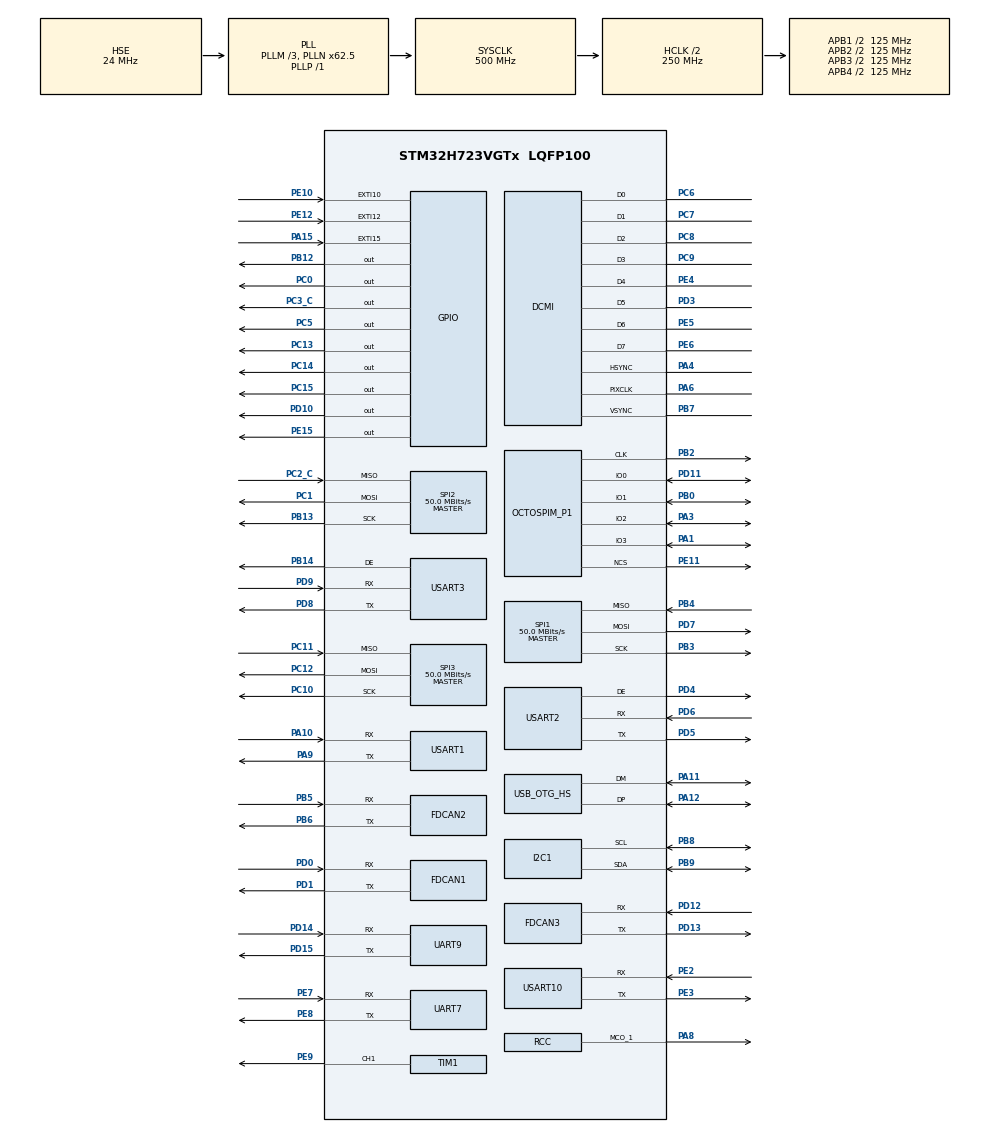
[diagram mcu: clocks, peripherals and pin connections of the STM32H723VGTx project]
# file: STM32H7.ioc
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DCMI.JPEGMode=DCMI_JPEG_DISABLE
Dma.Request0=USART1_RX
Dma.Request1=USART1_TX
Dma.USART1_RX.0.Direction=DMA_PERIPH_TO_MEMORY
Dma.USART1_RX.0.EventEnable=DISABLE
Dma.USART1_RX.0.FIFOMode=DMA_FIFOMODE_DISABLE
Dma.USART1_RX.0.Instance=DMA1_Stream0
Dma.USART1_RX.0.MemDataAlignment=DMA_MDATAALIGN_BYTE
Dma.USART1_RX.0.MemInc=DMA_MINC_ENABLE
Dma.USART1_RX.0.Mode=DMA_CIRCULAR
Dma.USART1_RX.0.PeriphDataAlignment=DMA_PDATAALIGN_BYTE
Dma.USART1_RX.0.PeriphInc=DMA_PINC_DISABLE
Dma.USART1_RX.0.Polarity=HAL_DMAMUX_REQ_GEN_RISING
Dma.USART1_RX.0.Priority=DMA_PRIORITY_LOW
Dma.USART1_RX.0.RequestNumber=1
Dma.USART1_RX.0.SignalID=NONE
Dma.USART1_RX.0.SyncEnable=DISABLE
Dma.USART1_RX.0.SyncPolarity=HAL_DMAMUX_SYNC_NO_EVENT
Dma.USART1_RX.0.SyncRequestNumber=1
Dma.USART1_RX.0.SyncSignalID=NONE
Dma.USART1_TX.1.Direction=DMA_MEMORY_TO_PERIPH
Dma.USART1_TX.1.EventEnable=DISABLE
Dma.USART1_TX.1.FIFOMode=DMA_FIFOMODE_DISABLE
Dma.USART1_TX.1.Instance=DMA1_Stream1
Dma.USART1_TX.1.MemDataAlignment=DMA_MDATAALIGN_BYTE
Dma.USART1_TX.1.MemInc=DMA_MINC_ENABLE
Dma.USART1_TX.1.Mode=DMA_NORMAL
Dma.USART1_TX.1.PeriphDataAlignment=DMA_PDATAALIGN_BYTE
Dma.USART1_TX.1.PeriphInc=DMA_PINC_DISABLE
Dma.USART1_TX.1.Polarity=HAL_DMAMUX_REQ_GEN_RISING
Dma.USART1_TX.1.Priority=DMA_PRIORITY_LOW
Dma.USART1_TX.1.RequestNumber=1
Dma.USART1_TX.1.SignalID=NONE
Dma.USART1_TX.1.SyncEnable=DISABLE
Dma.USART1_TX.1.SyncPolarity=HAL_DMAMUX_SYNC_NO_EVENT
Dma.USART1_TX.1.SyncRequestNumber=1
Dma.USART1_TX.1.SyncSignalID=NONE
FDCAN1.AutoRetransmission=DISABLE
FDCAN1.CalculateBaudRateNominal=1000000
FDCAN1.CalculateTimeBitNominal=1000
FDCAN1.CalculateTimeQuantumNominal=40.0
FDCAN1.DataPrescaler=4
FDCAN1.DataSyncJumpWidth=1
FDCAN1.DataTimeSeg1=19
FDCAN1.DataTimeSeg2=5
FDCAN1.ExtFiltersNbr=5
FDCAN1.FrameFormat=FDCAN_FRAME_CLASSIC
FDCAN1.NominalPrescaler=4
FDCAN1.NominalTimeSeg1=19
FDCAN1.NominalTimeSeg2=5
FDCAN1.ProtocolException=ENABLE
FDCAN1.RxFifo0ElmtSize=FDCAN_DATA_BYTES_24
FDCAN1.RxFifo0ElmtsNbr=4
FDCAN1.RxFifo1ElmtSize=FDCAN_DATA_BYTES_24
FDCAN1.RxFifo1ElmtsNbr=0
FDCAN1.StdFiltersNbr=5
FDCAN1.TransmitPause=DISABLE
FDCAN1.TxElmtSize=FDCAN_DATA_BYTES_24
FDCAN1.TxFifoQueueElmtsNbr=8
FDCAN2.CalculateBaudRateNominal=1000000
FDCAN2.CalculateTimeBitNominal=1000
FDCAN2.CalculateTimeQuantumNominal=50.0
FDCAN2.DataPrescaler=5
FDCAN2.DataSyncJumpWidth=1
FDCAN2.DataTimeSeg1=14
FDCAN2.DataTimeSeg2=5
FDCAN2.ExtFiltersNbr=5
FDCAN2.FrameFormat=FDCAN_FRAME_CLASSIC
FDCAN2.MessageRAMOffset=854
FDCAN2.NominalPrescaler=5
FDCAN2.NominalTimeSeg1=14
FDCAN2.NominalTimeSeg2=5
FDCAN2.ProtocolException=ENABLE
FDCAN2.RxFifo0ElmtsNbr=0
FDCAN2.RxFifo1ElmtSize=FDCAN_DATA_BYTES_24
FDCAN2.RxFifo1ElmtsNbr=4
FDCAN2.StdFiltersNbr=5
FDCAN2.TxElmtSize=FDCAN_DATA_BYTES_16
FDCAN2.TxFifoQueueElmtsNbr=4
FDCAN3.CalculateBaudRateNominal=1250000
FDCAN3.CalculateTimeBitNominal=800
FDCAN3.CalculateTimeQuantumNominal=160.0
I2C1.Timing=0x20A0A3F6
Mcu.Family=STM32H7
Mcu.Name=STM32H723VGTx
Mcu.Package=LQFP100
NVIC.DMA1_Stream0_IRQn=true\:0\:0\:false\:false\:true\:false\:true\:true
NVIC.DMA1_Stream1_IRQn=true\:0\:0\:false\:false\:true\:false\:true\:true
NVIC.FDCAN1_IT0_IRQn=true\:0\:0\:false\:false\:true\:true\:true\:true
NVIC.FDCAN2_IT0_IRQn=true\:0\:0\:false\:false\:true\:true\:true\:true
NVIC.PriorityGroup=NVIC_PRIORITYGROUP_4
NVIC.TIM2_IRQn=true\:0\:0\:false\:false\:true\:true\:true\:true
NVIC.USART1_IRQn=true\:0\:0\:false\:false\:true\:true\:true\:true
PA0.Signal=S_TIM2_CH1_ETR
PA1.Mode=OCTOSPI1_IOL_Port1L
PA1.Signal=OCTOSPIM_P1_IO3
PA10.Mode=Asynchronous
PA10.Signal=USART1_RX
PA11.Mode=Device_Only_FS
PA11.Signal=USB_OTG_HS_DM
PA12.Mode=Device_Only_FS
PA12.Signal=USB_OTG_HS_DP
PA13(JTMS/SWDIO).Mode=Serial_Wire
PA13(JTMS/SWDIO).Signal=DEBUG_JTMS-SWDIO
PA14(JTCK/SWCLK).Mode=Serial_Wire
PA14(JTCK/SWCLK).Signal=DEBUG_JTCK-SWCLK
PA15(JTDI).Signal=GPXTI15
PA2.Signal=S_TIM2_CH3
PA3.Mode=OCTOSPI1_IOL_Port1L
PA3.Signal=OCTOSPIM_P1_IO2
PA4.Mode=Slave_8_bits_External_Synchro
PA4.Signal=DCMI_HSYNC
PA5.Signal=ADCx_INN18
PA6.Mode=Slave_8_bits_External_Synchro
PA6.Signal=DCMI_PIXCLK
PA7.Signal=SPI6_MOSI
PA8.Mode=Clock-out-1
PA8.Signal=RCC_MCO_1
PA9.Mode=Asynchronous
PA9.Signal=USART1_TX
PB0.Mode=OCTOSPI1_IOL_Port1L
PB0.Signal=OCTOSPIM_P1_IO1
PB1.Signal=S_TIM3_CH4
PB10.Signal=I2C2_SCL
PB11.Signal=I2C2_SDA
PB12.Signal=GPIO_Output
PB13.Mode=Full_Duplex_Master
PB13.Signal=SPI2_SCK
PB14.Mode=Hardware Flow Control (RS485)
PB14.Signal=USART3_DE
PB15.Signal=S_TIM12_CH2
PB2.Mode=O1_P1_CLK
PB2.Signal=OCTOSPIM_P1_CLK
PB3(JTDO/TRACESWO).Mode=Full_Duplex_Master
PB3(JTDO/TRACESWO).Signal=SPI1_SCK
PB4(NJTRST).Mode=Full_Duplex_Master
PB4(NJTRST).Signal=SPI1_MISO
PB5.Mode=FDCAN_Activate
PB5.Signal=FDCAN2_RX
PB6.Mode=FDCAN_Activate
PB6.Signal=FDCAN2_TX
PB7.Mode=Slave_8_bits_External_Synchro
PB7.Signal=DCMI_VSYNC
PB8.GPIO_Pu=GPIO_PULLUP
PB8.Mode=I2C
PB8.Signal=I2C1_SCL
PB9.GPIO_Pu=GPIO_PULLUP
PB9.Mode=I2C
PB9.Signal=I2C1_SDA
PC0.Signal=GPIO_Output
PC1.Mode=Full_Duplex_Master
PC1.Signal=SPI2_MOSI
PC10.Mode=Full_Duplex_Master
PC10.Signal=SPI3_SCK
PC11.Mode=Full_Duplex_Master
PC11.Signal=SPI3_MISO
PC12.Mode=Full_Duplex_Master
PC12.Signal=SPI3_MOSI
PC13.Signal=GPIO_Output
PC14-OSC32_IN.Signal=GPIO_Output
PC15-OSC32_OUT.Signal=GPIO_Output
PC2_C.Mode=Full_Duplex_Master
PC2_C.Signal=SPI2_MISO
PC3_C.Signal=GPIO_Output
PC4.Signal=ADCx_INP4
PC5.Signal=GPIO_Output
PC6.Mode=Slave_8_bits_External_Synchro
PC6.Signal=DCMI_D0
PC7.Mode=Slave_8_bits_External_Synchro
PC7.Signal=DCMI_D1
PC8.Mode=Slave_8_bits_External_Synchro
PC8.Signal=DCMI_D2
PC9.Mode=Slave_8_bits_External_Synchro
PC9.Signal=DCMI_D3
PD0.Mode=FDCAN_Activate
PD0.Signal=FDCAN1_RX
PD1.Mode=FDCAN_Activate
PD1.Signal=FDCAN1_TX
PD10.Signal=GPIO_Output
PD11.Mode=OCTOSPI1_IOL_Port1L
PD11.Signal=OCTOSPIM_P1_IO0
PD12.Mode=FDCAN_Activate
PD12.Signal=FDCAN3_RX
PD13.Mode=FDCAN_Activate
PD13.Signal=FDCAN3_TX
PD14.Mode=Asynchronous
PD14.Signal=UART9_RX
PD15.Mode=Asynchronous
PD15.Signal=UART9_TX
PD2.Signal=UART5_RX
PD3.Mode=Slave_8_bits_External_Synchro
PD3.Signal=DCMI_D5
PD4.Mode=Hardware Flow Control (RS485)
PD4.Signal=USART2_DE
PD5.Mode=Asynchronous
PD5.Signal=USART2_TX
PD6.Mode=Asynchronous
PD6.Signal=USART2_RX
PD7.Mode=Full_Duplex_Master
PD7.Signal=SPI1_MOSI
PD8.Mode=Asynchronous
PD8.Signal=USART3_TX
PD9.Mode=Asynchronous
PD9.Signal=USART3_RX
PE0.Signal=UART8_RX
PE1.Signal=UART8_TX
PE10.Signal=GPXTI10
PE11.Mode=OCTOSPI1_Port1_NCS
PE11.Signal=OCTOSPIM_P1_NCS
PE12.Signal=GPXTI12
PE13.Signal=S_TIM1_CH3
PE14.Signal=SPI4_MOSI
PE15.Signal=GPIO_Output
PE2.Mode=Asynchronous
PE2.Signal=USART10_RX
PE3.Mode=Asynchronous
PE3.Signal=USART10_TX
PE4.Mode=Slave_8_bits_External_Synchro
PE4.Signal=DCMI_D4
PE5.Mode=Slave_8_bits_External_Synchro
PE5.Signal=DCMI_D6
PE6.Mode=Slave_8_bits_External_Synchro
PE6.Signal=DCMI_D7
PE7.Mode=Asynchronous
PE7.Signal=UART7_RX
PE8.Mode=Asynchronous
PE8.Signal=UART7_TX
PE9.Signal=S_TIM1_CH1
PH0-OSC_IN.Mode=HSE-External-Oscillator
PH0-OSC_IN.Signal=RCC_OSC_IN
PH1-OSC_OUT.Mode=HSE-External-Oscillator
PH1-OSC_OUT.Signal=RCC_OSC_OUT
ProjectManager.HeapSize=0x200
ProjectManager.StackSize=0x400
ProjectManager.TargetToolchain=MDK-ARM V5.32
RCC.ADCFreq_Value=81473684.21052632
RCC.APB1Freq_Value=125000000
RCC.APB2Freq_Value=125000000
RCC.APB3Freq_Value=125000000
RCC.APB4Freq_Value=125000000
RCC.CortexFreq_Value=500000000
RCC.D1PPRE=RCC_APB3_DIV2
RCC.D2PPRE1=RCC_APB1_DIV2
RCC.D2PPRE2=RCC_APB2_DIV2
RCC.D3PPRE=RCC_APB4_DIV2
RCC.DIVM1=3
RCC.DIVM2=19
RCC.DIVN1=62
RCC.DIVP1=1
RCC.DIVQ1=5
RCC.HCLKFreq_Value=250000000
RCC.HPRE=RCC_HCLK_DIV2
RCC.HSE_VALUE=24000000
RCC.PLL2FRACN=0
RCC.PLL3FRACN=0
RCC.PLLFRACN=4096
RCC.PLLSourceVirtual=RCC_PLLSOURCE_HSE
RCC.RCC_MCO1Source=RCC_MCO1SOURCE_HSE
RCC.SYSCLKFreq_VALUE=500000000
RCC.SYSCLKSource=RCC_SYSCLKSOURCE_PLLCLK
RCC.USBCLockSelection=RCC_USBCLKSOURCE_HSI48
RCC.USBFreq_Value=48000000
SH.ADCx_INN18.0=ADC1_INN18
SH.ADCx_INP4.0=ADC1_INP4
SH.S_TIM12_CH2.0=TIM12_CH2
SH.S_TIM1_CH1.0=TIM1_CH1,PWM Generation1 CH1
SH.S_TIM1_CH3.0=TIM1_CH3
SH.S_TIM2_CH1_ETR.0=TIM2_CH1
SH.S_TIM2_CH3.0=TIM2_CH3
SH.S_TIM3_CH4.0=TIM3_CH4
SPI1.BaudRatePrescaler=SPI_BAUDRATEPRESCALER_2
SPI1.CalculateBaudRate=50.0 MBits/s
SPI1.Direction=SPI_DIRECTION_2LINES
SPI1.Mode=SPI_MODE_MASTER
SPI1.VirtualType=VM_MASTER
SPI2.BaudRatePrescaler=SPI_BAUDRATEPRESCALER_2
SPI2.CalculateBaudRate=50.0 MBits/s
SPI2.Direction=SPI_DIRECTION_2LINES
SPI2.Mode=SPI_MODE_MASTER
SPI2.VirtualNSS=VM_NSSHARD
SPI2.VirtualType=VM_MASTER
SPI3.BaudRatePrescaler=SPI_BAUDRATEPRESCALER_2
SPI3.CalculateBaudRate=50.0 MBits/s
SPI3.Direction=SPI_DIRECTION_2LINES
SPI3.Mode=SPI_MODE_MASTER
SPI3.VirtualType=VM_MASTER
TIM1.Channel-PWM\ Generation1\ CH1=TIM_CHANNEL_1
TIM1.Channel-PWM\ Generation2\ CH2=TIM_CHANNEL_2
TIM1.Channel-PWM\ Generation3\ CH3=TIM_CHANNEL_3
TIM1.Channel-PWM\ Generation4\ CH4=TIM_CHANNEL_4
TIM2.Period=0xFFFFFFFF
TIM2.Prescaler=249
USART1.VirtualMode-Asynchronous=VM_ASYNC
USART10.VirtualMode=VM_ASYNC
USART2.VirtualMode-Asynchronous=VM_ASYNC
USART2.VirtualMode-Hardware\ Flow\ Control\ (RS485)=VM_ASYNC
USART3.VirtualMode-Asynchronous=VM_ASYNC
USART3.VirtualMode-Hardware\ Flow\ Control\ (RS485)=VM_ASYNC
USB_OTG_HS.VirtualMode-Device_Only_FS=Device_Only_FS
VP_OCTOSPI1_VS_quad.Mode=quad_mode
VP_TIM2_VS_ClockSourceINT.Mode=Internal
board=custom

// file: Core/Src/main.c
/* USER CODE BEGIN Header */
/**
  ******************************************************************************
  * @file           : main.c
  * @brief          : Main program body
  ******************************************************************************
  * @attention
  *
  * Copyright (c) 2024 STMicroelectronics.
  * All rights reserved.
  *
  * This software is licensed under terms that can be found in the LICENSE file
  * in the root directory of this software component.
  * If no LICENSE file comes with this software, it is provided AS-IS.
  *
  ******************************************************************************
  */
/* USER CODE END Header */
#include "main.h"
#include "dcmi.h"
#include "dma.h"
#include "fdcan.h"
#include "i2c.h"
#include "octospi.h"
#include "spi.h"
#include "tim.h"
#include "usart.h"
#include "usb_otg.h"
#include "gpio.h"

/* USER CODE BEGIN Includes */
#include "can_bsp.h"
#include "dm_drv.h"
#include "arm_math.h"
#include <stdio.h>
#include "EventRecorder.h"
#include "key_bsp.h"
#include "led_bsp.h"
#include <stdbool.h>
#include "control.h"
/* USER CODE END Includes */

/* USER CODE BEGIN PD */
#define CONTROL_PERIOD_US 1000
#define TOGGLE_PERIOD_US 5000000  // 5 seconds in microseconds
#define HDR1 0xAA
#define HDR2 0x55
#define ARRAY_SIZE 14

OpenArm_t arm;
OpenArm_t arm2;
BilateralInfo_t leader_info;
BilateralInfo_t follower_info;

int received;
extern float vel_set;
#define UART_RX_BUFFER_SIZE 87
uint8_t rx_buffer[UART_RX_BUFFER_SIZE];
// uint8_t tx_buffer[59];  // ヘッダ（2バイト）+ 位置データ（28バイト）+ 速度データ（28バイト）+ CRC（1バイト）

/* USER CODE END PD */

/* USER CODE BEGIN PV */
extern UART_HandleTypeDef huart2;  // Define the UART handle for USART2
/* USER CODE END PV */

void SystemClock_Config(void);
/* USER CODE BEGIN PFP */
int __io_putchar(int ch)
{
	HAL_UART_Transmit(&huart2,(uint8_t*)&ch,1,HAL_MAX_DELAY);
	return ch;
}

/* USER CODE END PFP */

/* USER CODE BEGIN 0 */
void send_data(UART_HandleTypeDef *huart, uint8_t* data, size_t len)
{
    // DMA送信を開始
    HAL_UART_Transmit_DMA(huart, data, len);
}

uint8_t calcCRC(uint8_t* data, size_t len)
{
    uint8_t crc = 0;
    for (size_t i = 0; i < len; ++i) {
        crc ^= data[i];
    }
    return crc;
}

void sendFloatArray(UART_HandleTypeDef *huart, float arr[ARRAY_SIZE]) {
  uint8_t crc = 0;
  uint8_t header[2] = { HDR1, HDR2 };

  // 位置データとCRCを含む全データを格納するバッファを準備
  uint8_t tx_buffer[ARRAY_SIZE * sizeof(float) + sizeof(header) + 1];  // ヘッダ + 位置データ + CRC

  // ヘッダをバッファに格納
  memcpy(tx_buffer, header, sizeof(header));

  // 位置データをバッファに格納
  const uint8_t* arr_ptr = (const uint8_t*)arr;  // float 配列をバイト配列として扱う
  for (size_t i = 0; i < ARRAY_SIZE * sizeof(float); ++i) {
      tx_buffer[sizeof(header) + i] = arr_ptr[i];  // ヘッダの後に位置データを格納
  }

  // CRC計算（データ部分のみ）
  for (size_t i = 2; i < sizeof(tx_buffer) - 1; ++i) {  // ヘッダを除いてCRCを計算
      crc ^= tx_buffer[i];
  }

  // CRCをバッファの最後に格納
  tx_buffer[sizeof(tx_buffer) - 1] = crc;

  // ヘッダ + 位置データ + CRC を一度に送信
  HAL_UART_Transmit_DMA(huart, tx_buffer, sizeof(tx_buffer));  // DMAで全データを一度に送信
}

void HAL_UART_TxCpltCallback(UART_HandleTypeDef *huart)
{

        huart1.gState = HAL_UART_STATE_READY;

}

float m_diag[7];    // M_diagのデータを格納する配列
float coriolis[7];  // Coriolisのデータを格納する配列
float gravity[7];   // Gravityのデータを格納する配列
uint8_t crc;
uint8_t received_crc;
uint8_t calculated_crc;

uint8_t flag;
float tx_test[ARRAY_SIZE] = {4.0f, 4.0f, 4.0f, 4.0f, 0.0f, 0.0f, 0.0f, 0.0f, 0.0f, 0.0f, 0.0f, 0.0f, 0.0f, 0.0f};

void HAL_UART_RxCpltCallback(UART_HandleTypeDef *huart) {

  if (huart->Instance == USART1) {
      static uint8_t data_stage = 0;  // 受信段階を管理するフラグ
      if(rx_buffer[0] != HDR1 || rx_buffer[1] != HDR2){
        return;
      }
      int head = 2;
      for(int i = 0; i < 7; ++i){
        m_diag[i] = *((float*)&rx_buffer[i * 4 + head]);
      }
      head += sizeof(float)*7;
      for(int i = 0; i < 7; ++i){
        coriolis[i] = *((float*)&rx_buffer[i * 4 + head]);
      }
      head += sizeof(float)*7;
      for(int i = 0; i < 7; ++i){
        gravity[i] = *((float*)&rx_buffer[i * 4 + head]);
      }
      head += sizeof(float)*7;
      received_crc = rx_buffer[head];  // 受信したCRC
      calculated_crc = calcCRC(rx_buffer, sizeof(rx_buffer) - 1);  // CRC計算
      // if(received_crc != calculated_crc){

      // }

      // 受信後に再度DMAによる受信を開始
      HAL_UART_Receive_DMA(&huart1, rx_buffer, sizeof(rx_buffer));
  }
}

/* USER CODE END 0 */

int main(void)
{
  /* USER CODE BEGIN 1 */

//01 08 00 00 02 00 00 00
  /* USER CODE END 1 */

  /* MCU Configuration--------------------------------------------------------*/

  /* Reset of all peripherals, Initializes the Flash interface and the Systick. */
  HAL_Init();

  /* Configure the system clock */
  SystemClock_Config();

  /* Initialize all configured peripherals */
  MX_GPIO_Init();
  MX_DMA_Init();
  MX_DCMI_Init();
  MX_FDCAN1_Init();
  MX_FDCAN3_Init();
  MX_I2C1_Init();
  MX_OCTOSPI1_Init();
  MX_SPI1_Init();
  MX_SPI2_Init();
  MX_SPI3_Init();
  MX_TIM1_Init();
  MX_UART7_Init();
  MX_UART9_Init();
  MX_USART1_UART_Init();
  MX_USART2_UART_Init();
  MX_USART3_UART_Init();
  MX_USART10_UART_Init();
  MX_USB_OTG_HS_PCD_Init();
  MX_FDCAN2_Init();
  MX_TIM2_Init();
  /* USER CODE BEGIN 2 */
	Power_OUT1_ON;
	Power_OUT2_ON;
	HAL_Delay(200);

	FDCAN1_Config();
	FDCAN2_Config();

	int id[NUM_MOTORS];
	int master_id[NUM_MOTORS];
	float zero[NUM_MOTORS];
	float one[NUM_MOTORS];
	float positions[NUM_MOTORS];
	int mode = MIT_MODE;

  float tau[NUM_MOTORS];
  float tau2[NUM_MOTORS];
  float vel[NUM_MOTORS];
  float vel2[NUM_MOTORS];
  float pos[NUM_MOTORS];
  float pos2[NUM_MOTORS];

	int typel[NUM_MOTORS] = {DM4340, DM4340, DM4340, DM4340, DM4310, DM4310, DM4310, DM4340};
	int typef[NUM_MOTORS] = {DM4340, DM4340, DM4340, DM4340, DM4310, DM4310, DM4310, DM4340};

	for (int i = 0; i < NUM_MOTORS; ++i) {
		id[i] = i + 1; // 0x01 to 0x08
		master_id[i] = 0x10 + (i + 1); // 0x11 to 0x18
		//type[i] = DM8009;
		zero[i] = 0.0f;
		one[i] = 1.0f;
		positions[i] = 0.0f;
	}

  //openarm setting
	openarm_init(&arm, id, master_id, mode, typel);
	openarm_init(&arm2, id, master_id, mode, typef);
	HAL_Delay(1000);

  //bilateral control setting
  float Ts = 0.001f;

  float Dn_leader[NUM_MOTORS] =  {0.1f, 0.1f, 0.03f, 0.03f, 0.03f, 0.003f, 0.003f, 0.001f};
  float Jn_leader[NUM_MOTORS] =  {0.03f, 0.0007f, 0.0007f, 0.0007f, 0.0007f, 0.0007f, 0.0007f, 0.0007f};
  float gnd_leader[NUM_MOTORS] = {10.0f, 10.0f, 10.0f, 10.0f, 5.0f, 5.0f, 5.0f, 0.0f};
  float gnf_leader[NUM_MOTORS] = {10.0f, 10.0f, 10.0f, 10.0f, 5.0f, 5.0f, 5.0f, 0.0f};
  float Gn_leader[NUM_MOTORS] =  {3.0f, 2.0f, 0.0f, 0.0f, 0.0f, 0.4f, 0.0f, 0.0f};
  float Kp_leader[NUM_MOTORS] =  {160.0f, 140.0f, 110.0f, 110.0f, 12.0f, 15.0f, 15.0f, 10.0f};
  float Kd_leader[NUM_MOTORS] =  {3.4f, 2.4f, 1.4f, 1.4f, 0.4f, 0.4f, 0.4f, 0.05f};
  float Kf_leader[NUM_MOTORS] =  {0.7f, 0.7f, 0.7f, 0.7f, 0.4f, 0.4f, 0.4f, 0.0f};

  float Dn_follower[NUM_MOTORS] =  {0.1f, 0.1f, 0.03f, 0.03f, 0.03f, 0.003f, 0.003f, 0.001f};
  float Jn_follower[NUM_MOTORS] =  {0.03f, 0.0007f, 0.0007f, 0.0007f, 0.0007f, 0.0007f, 0.0007f, 0.000f};
  float gnd_follower[NUM_MOTORS] = {10.0f, 10.0f, 10.0f, 10.0f, 5.0f, 5.0f, 5.0f, 0.0f};
  float gnf_follower[NUM_MOTORS] = {10.0f, 10.0f, 10.0f, 10.0f, 5.0f, 5.0f, 5.0f, 0.0f};
  float Gn_follower[NUM_MOTORS] =  {3.0f, 2.0f, 0.0f, 0.0f, 0.0f, 0.4f, 0.0f, 0.0f};
  float Kp_follower[NUM_MOTORS] =  {160.0f, 140.0f, 110.0f, 110.0f, 12.0f, 15.0f, 15.0f, 10.0f / GRIP_SCALE};
  float Kd_follower[NUM_MOTORS] =  {3.4f, 2.4f, 1.4f, 1.4f, 1.4f, 0.4f, 0.4f, 0.05f / GRIP_SCALE};
  float Kf_follower[NUM_MOTORS] =  {0.7f, 0.7f, 0.7f, 0.7f, 0.4f, 0.4f, 0.4f, 0.0f};

  float disturbance_leader[NUM_MOTORS] = {0};
  float reactionforce_leader[NUM_MOTORS] = {0};
  float disturbance_in_leader[NUM_MOTORS] = {0};
  float disturbance_out_leader[NUM_MOTORS] = {0};
  float reaction_in_leader[NUM_MOTORS] = {0};
  float reaction_out_leader[NUM_MOTORS] = {0};
  float joint_torque_leader[NUM_MOTORS] = {0};

  float disturbance_follower[NUM_MOTORS] = {0};
  float reactionforce_follower[NUM_MOTORS] = {0};
  float disturbance_in_follower[NUM_MOTORS] = {0};
  float disturbance_out_follower[NUM_MOTORS] = {0};
  float reaction_in_follower[NUM_MOTORS] = {0};
  float reaction_out_follower[NUM_MOTORS] = {0};
  float joint_torque_follower[NUM_MOTORS] = {0};

  init_bilateral_info(&leader_info, Ts, ROLE_LEADER, &arm, &hfdcan1,
                      Dn_leader, Jn_leader, gnd_leader, gnf_leader,
                      Gn_leader, Kp_leader, Kd_leader, Kf_leader,
                      disturbance_in_leader, disturbance_out_leader,
                      disturbance_leader, reaction_in_leader,
                      reaction_out_leader, reactionforce_leader ,joint_torque_leader);

  init_bilateral_info(&follower_info, Ts, ROLE_FOLLWER, &arm2, &hfdcan2,
                      Dn_follower, Jn_follower, gnd_follower, gnf_follower,
                      Gn_follower, Kp_follower, Kd_follower, Kf_follower,
                      disturbance_in_follower, disturbance_out_follower,
                      disturbance_follower, reaction_in_follower,
                      reaction_out_follower, reactionforce_follower ,joint_torque_follower);

  // // OpenArm baudrate change(hfdcan1)
  // for (uint8_t id = 0x01; id <= 0x08; ++id) {
  //     write_baudrate(&hfdcan1, id, BAUD_5M);  // 1Mのボーレートを設定
  //     HAL_Delay(500);  // 500msの遅延
  // }

	openarm_enable(&arm, &hfdcan1);
	openarm_enable(&arm2, &hfdcan2);

	printf("EVENT RECORDER BEFORE\n\r");
	//EventRecorderInitialize(EventRecordAll, 1);
	HAL_TIM_Base_Start(&htim2);

  openarm_set_zero_position(&arm, &hfdcan1);
  openarm_set_zero_position(&arm2, &hfdcan2);

	uint32_t toggle_timer = 0;
	uint8_t toggle = 0;
	uint32_t last_time = 0;
	uint32_t now = 0;
	uint32_t t_schedule = 0;
	__HAL_TIM_SET_COUNTER(&htim2, 0);  // Reset timer to avoid drift

  GPIO_PinState last_key_state = GPIO_PIN_SET;
  bool torque_disabled = false;

  // HAL_UART_Receive_IT(&huart1, rx_buffer, sizeof(rx_buffer));
  HAL_UART_Receive_DMA(&huart1, rx_buffer, sizeof(rx_buffer));

	// HAL_UART_Transmit_DMA(&huart1, (uint8_t*) "Boot NUCLEO\r\n", 13);
	// while (huart1.gState != HAL_UART_STATE_READY) {
	// }

  sendFloatArray(&huart1, tx_test);

  /* USER CODE END 2 */

  /* Infinite loop */
  /* USER CODE BEGIN WHILE */
  while (1)
  {

		uint32_t now = __HAL_TIM_GET_COUNTER(&htim2);
    uint32_t elapsed = now - last_time;

    t_schedule += CONTROL_PERIOD_US;

    int32_t td = t_schedule - __HAL_TIM_GET_COUNTER(&htim2);

    if (td > 0) {
				td += 0xFFFFFFFF; // Account for overflow
        while (__HAL_TIM_GET_COUNTER(&htim2) < t_schedule);  // Wait for the required time
        //printf("Control loop took %d us. Waiting for: %d us\n\r", elapsed, td);

    } else {
        printf("WARNING: Control loop overran by %d us!\n", -td);
    }
    toggle_timer += CONTROL_PERIOD_US;

    if (toggle_timer >= TOGGLE_PERIOD_US) {
        toggle ^= 1;
        toggle_timer = 0;
    }

		last_time = __HAL_TIM_GET_COUNTER(&htim2);
		// EventRecord2(0x03, positions[0]*100, 0x01);

    // bilateral control
    // bool use_bilate = true;
    // if(use_bilate){
    //   bilateral_control_v1(&leader_info, &follower_info);
    // }
    // else {
    // //  move_mit_all(&arm, &hfdcan1, zero, zero, leader_info.Kp, leader_info.Kd, zero);
    // //  move_mit_all(&arm2, &hfdcan2, zero, zero, follower_info.Kp, follower_info.Kd, zero);
    // move_mit_all(&arm, &hfdcan1, zero, zero, zero, zero, zero);
    // move_mit_all(&arm2, &hfdcan2, zero, zero, zero, zero, zero);
    // }

    for(int i = 0 ; i < 7; ++i){
      tx_test[i] = arm.motors[i].pos;
    }
    for(int i = 0 ; i < 7; ++i){
      tx_test[i + 7] = arm.motors[i].vel;
    }
    sendFloatArray(&huart1, tx_test);
    HAL_Delay(500);

     move_mit_all(&arm, &hfdcan1, zero, zero, zero, zero, zero);
    //  move_mit_all(&arm2, &hfdcan2, zero, zero, follower_info.Kp, follower_info.Kd, zero);

		// if (toggle) {
		// 		move_mit_all(&arm, &hfdcan1, zero, zero, zero, zero, zero);
		// 		move_mit_all(&arm2, &hfdcan2, zero, zero, zero, zero, zero);
		// } else {
		// 		move_mit_all(&arm, &hfdcan1, zero, zero, zero, zero, zero);
    //   	move_mit_all(&arm2, &hfdcan2, zero, zero, zero, zero, zero);
		// }

    if (key_1 == GPIO_PIN_RESET) {
        printf("pushed\n\r");
    }

    printf("pos 1 : %f pos 2 : %f\n\r", arm2.motors[0].pos, arm2.motors[1].pos);
	  // printf("dis : %f \n\r", leader_info.disturbance[0]);
	  // printf("dis : %f \n\r", arm.motors[1].vel);

    // if (!torque_disabled) {
    //     GPIO_PinState current_key_state = key_bsp_read_pin(GPIOA, GPIO_PIN_15);

    //     if (last_key_state == GPIO_PIN_SET && current_key_state == GPIO_PIN_RESET) {
    //         HAL_Delay(20);
    //         if (key_bsp_read_pin(GPIOA, GPIO_PIN_15) == GPIO_PIN_RESET) {
    //             printf("pushed - disabling torque!\n\r");
    //             openarm_disable(&arm, &hfdcan1);
    //             openarm_disable(&arm2, &hfdcan2);
    //             torque_disabled = true;
    //         }
    //     }

    //     last_key_state = current_key_state;
    // }

      // 現在のボタンの状態を取得
      GPIO_PinState current_key_state = key_bsp_read_pin(GPIOA, GPIO_PIN_15);

      // ボタンが押された瞬間を検出
      if (last_key_state == GPIO_PIN_SET && current_key_state == GPIO_PIN_RESET) {
          HAL_Delay(20);  // チャタリング防止のため、少し待つ

          // 再度ボタンが押されたことを確認
          if (key_bsp_read_pin(GPIOA, GPIO_PIN_15) == GPIO_PIN_RESET) {
              for(int i = 0 ; i < 7; ++i){
                tx_test[i] = arm.motors[i].pos;
              }
              for(int i = 0 ; i < 7; ++i){
                tx_test[i + 7] = arm.motors[i].vel;
              }
              sendFloatArray(&huart1, tx_test);
          }
      }

      // ボタンの状態を次回のチェックのために保存
      last_key_state = current_key_state;

		// printf("TIM2 Counter: %u\n", __HAL_TIM_GET_COUNTER(&htim2));
		// HAL_Delay(500); // Print every 500ms
    // HAL_Delay(1);

    /* USER CODE END WHILE */

    /* USER CODE BEGIN 3 */
  }

	// openarm_disable(&arm, &hfdcan1);
	// openarm_disable(&arm2, &hfdcan2);

  /* USER CODE END 3 */
}

void SystemClock_Config(void)
{
  RCC_OscInitTypeDef RCC_OscInitStruct = {0};
  RCC_ClkInitTypeDef RCC_ClkInitStruct = {0};

  /** Supply configuration update enable
  */
  HAL_PWREx_ConfigSupply(PWR_LDO_SUPPLY);

  /** Configure the main internal regulator output voltage
  */
  __HAL_PWR_VOLTAGESCALING_CONFIG(PWR_REGULATOR_VOLTAGE_SCALE0);

  while(!__HAL_PWR_GET_FLAG(PWR_FLAG_VOSRDY)) {}

  /** Initializes the RCC Oscillators according to the specified parameters
  * in the RCC_OscInitTypeDef structure.
  */
  RCC_OscInitStruct.OscillatorType = RCC_OSCILLATORTYPE_HSI48|RCC_OSCILLATORTYPE_HSE;
  RCC_OscInitStruct.HSEState = RCC_HSE_ON;
  RCC_OscInitStruct.HSI48State = RCC_HSI48_ON;
  RCC_OscInitStruct.PLL.PLLState = RCC_PLL_ON;
  RCC_OscInitStruct.PLL.PLLSource = RCC_PLLSOURCE_HSE;
  RCC_OscInitStruct.PLL.PLLM = 3;
  RCC_OscInitStruct.PLL.PLLN = 62;
  RCC_OscInitStruct.PLL.PLLP = 1;
  RCC_OscInitStruct.PLL.PLLQ = 5;
  RCC_OscInitStruct.PLL.PLLR = 2;
  RCC_OscInitStruct.PLL.PLLRGE = RCC_PLL1VCIRANGE_3;
  RCC_OscInitStruct.PLL.PLLVCOSEL = RCC_PLL1VCOWIDE;
  RCC_OscInitStruct.PLL.PLLFRACN = 4096;
  if (HAL_RCC_OscConfig(&RCC_OscInitStruct) != HAL_OK)
  {
    Error_Handler();
  }

  /** Initializes the CPU, AHB and APB buses clocks
  */
  RCC_ClkInitStruct.ClockType = RCC_CLOCKTYPE_HCLK|RCC_CLOCKTYPE_SYSCLK
                              |RCC_CLOCKTYPE_PCLK1|RCC_CLOCKTYPE_PCLK2
                              |RCC_CLOCKTYPE_D3PCLK1|RCC_CLOCKTYPE_D1PCLK1;
  RCC_ClkInitStruct.SYSCLKSource = RCC_SYSCLKSOURCE_PLLCLK;
  RCC_ClkInitStruct.SYSCLKDivider = RCC_SYSCLK_DIV1;
  RCC_ClkInitStruct.AHBCLKDivider = RCC_HCLK_DIV2;
  RCC_ClkInitStruct.APB3CLKDivider = RCC_APB3_DIV2;
  RCC_ClkInitStruct.APB1CLKDivider = RCC_APB1_DIV2;
  RCC_ClkInitStruct.APB2CLKDivider = RCC_APB2_DIV2;
  RCC_ClkInitStruct.APB4CLKDivider = RCC_APB4_DIV2;

  if (HAL_RCC_ClockConfig(&RCC_ClkInitStruct, FLASH_LATENCY_3) != HAL_OK)
  {
    Error_Handler();
  }
  HAL_RCC_MCOConfig(RCC_MCO1, RCC_MCO1SOURCE_HSE, RCC_MCODIV_1);
}

void Error_Handler(void)
{
  __disable_irq();
  while (1)
  {
  }
}
